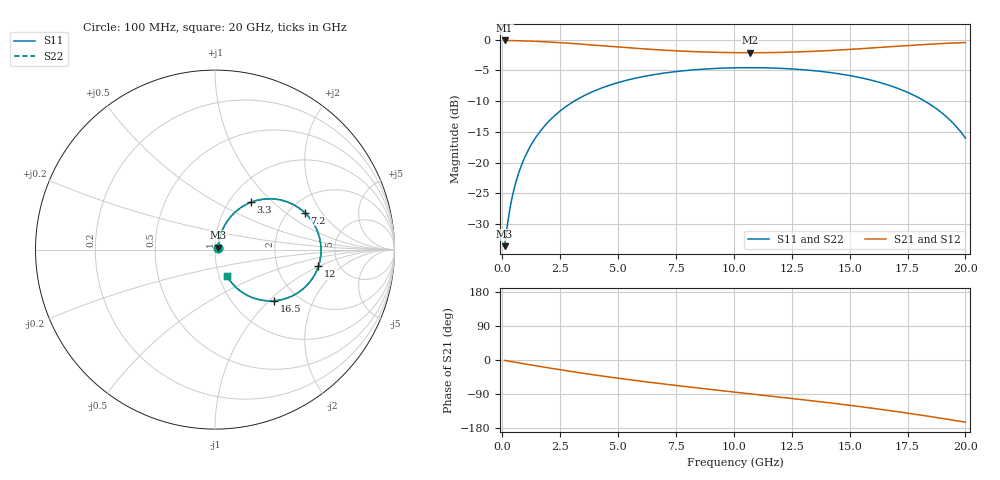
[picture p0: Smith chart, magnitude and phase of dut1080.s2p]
! Touchstone file exported from HFSS 2026.1.0
!  File:  C:/ffzhzh/LocalFiles/Ansys_Project_Files/temp_train_TSV_RDL_1080_1783300335_39728.aedt
!  Generated:  09:22:11 AM Jul  6, 2026
!  Design:  TSV_RDL
!  Project:  temp_train_TSV_RDL_1080_1783300335_39728
! Variables:
!  h_bsmrdl = 4.37um
!  h_ox = 20um
!  h_rdl = 5um
!  h_sub = 58.58um
!  h_tmrdl = 4.56um
!  h_tsv = 58.58um
!  h_via = 3um
!  l_bsmrdl = 552.82um
!  l_sub = 2928.01um
!  l_tmrdl = 197.85um
!  m_sub = 200um
!  pitch = 39.39um
!  r_tsv = 6.47um
!  s_tmrdl = 10um
!  w_bsmrdl = 11.62um
!  w_sub = 500um
!  w_tmrdl = 14.43um
!  x_tsv_center1 = 205.065um
!  x_tsv_center2 = 769.505um
!  x_tsv_center3 = 981.785um
!  x_tsv_center4 = 1546.225um
!  x_tsv_center5 = 1758.505um
!  x_tsv_center6 = 2322.945um
# GHz S MA R 50.000000
! Terminal data exported
! Port[1] = TM_RDL1_1_T1
! Port[2] = TM_RDL5_1_T1
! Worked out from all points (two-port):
!   200 points, 100 MHz to 20 GHz, reference 50 ohm
!   highest |S21| = -0.15 dB at 100 MHz (marker M1); lowest = -2.1 dB at 10.7 GHz (marker M2)
!   |S21| within 3 dB of the highest: start of sweep to end of sweep
!   lowest |S11| = -33.6 dB at 100 MHz (marker M3), VSWR 1.04, Z = 51.8 + j1.18 ohm
!   |S11| at or under -10 dB: start of sweep to 3.112 GHz; 18.24 GHz to end of sweep
!   |S22| runs from -33.6 to -4.6 dB; largest |S21 - S12| = 8.8e-14
!   S11 on the Smith chart (normalised r, x): 100 MHz: 1.04, +0.02; 3.3 GHz: 1.26, +0.74; 7.2 GHz: 2.42, +1.41; 12 GHz: 3.50, -0.99; 16.5 GHz: 1.53, -1.08; 20 GHz: 1.09, -0.32
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0.1  0.02096 33.0  0.9826 -1.1  0.9826 -1.1  0.02096 33.0
! Gamma 0 0 0 0
! Port Impedance 50 0 50 0
0.3  0.0392 59.4  0.9814 -3.2  0.9814 -3.2  0.0392 59.4
0.5  0.06021 66.5  0.9796 -5.4  0.9796 -5.4  0.06021 66.5
0.8  0.09219 69.3  0.9762 -8.5  0.9762 -8.5  0.09219 69.3
1.1  0.124 69.1  0.9721 -11.6  0.9721 -11.6  0.124 69.1
1.5  0.1657 67.1  0.9654 -15.7  0.9654 -15.7  0.1657 67.1
2  0.2158 63.5  0.9549 -20.8  0.9549 -20.8  0.2158 63.5
3.3  0.3315 52.7  0.92 -33.3  0.92 -33.3  0.3315 52.7
3.5  0.3472 51.0  0.9141 -35.1  0.9141 -35.1  0.3472 51.0
5  0.4468 38.7  0.8693 -48.1  0.8693 -48.1  0.4468 38.7
6.8  0.5275 25.3  0.8234 -62.1  0.8234 -62.1  0.5275 25.3
7.2  0.5404 22.4  0.8151 -65.0  0.8151 -65.0  0.5404 22.4
10.1  0.5895 3.1  0.7818 -85.1  0.7818 -85.1  0.5895 3.1
10.7  0.5907 -0.8  0.7809 -89.1  0.7809 -89.1  0.5907 -0.7
12  0.5835 -9.2  0.7859 -97.9  0.7859 -97.9  0.5835 -9.2
13.4  0.5597 -18.5  0.8015 -107.7  0.8015 -107.7  0.5597 -18.4
15.1  0.5055 -30.3  0.8333 -120.3  0.8333 -120.3  0.5055 -30.3
16.5  0.4366 -40.8  0.8671 -131.5  0.8671 -131.5  0.4366 -40.8
16.7  0.4248 -42.3  0.8723 -133.2  0.8723 -133.2  0.4248 -42.3
18.6  0.2868 -57.1  0.9195 -150.3  0.9195 -150.3  0.2869 -57.1
19.4  0.2157 -62.8  0.9355 -158.1  0.9355 -158.1  0.2157 -62.8
20  0.1584 -65.9  0.9445 -164.0  0.9445 -164.0  0.1585 -65.8
